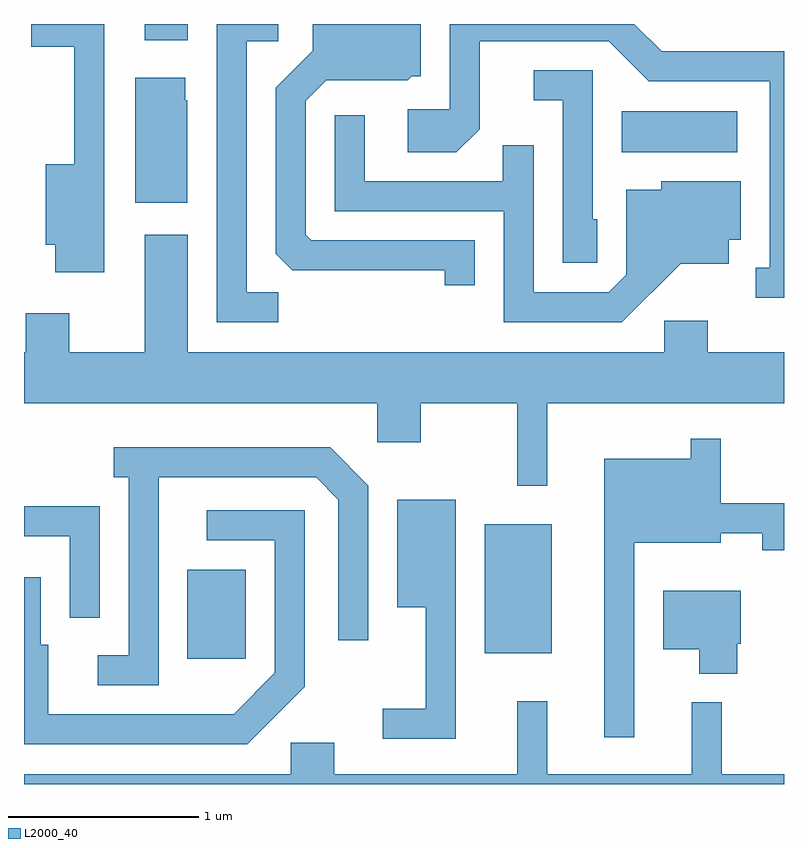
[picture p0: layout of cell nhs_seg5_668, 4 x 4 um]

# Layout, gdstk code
import gdstk
lib = gdstk.Library(unit=1e-6, precision=1e-09)
def R(c, l, rs):  # rectangles x0, y0, x1, y1
    for r in rs: c.add(gdstk.rectangle(r[:2], r[2:], *l))
def P(c, l, *ps):  # polygons
    for p in ps: c.add(gdstk.Polygon(p, *l))
L2000_40 = (2000, 40)

nhs_seg5_668 = lib.new_cell('nhs_seg5_668')
R(nhs_seg5_668, L2000_40, [(204.471,1508.731,204.779,1509.199), (206.036,1508.761,206.389,1509.439), (206.756,1511.396,207.364,1511.614), (204.246,1511.986,204.474,1512.072)])
P(nhs_seg5_668, L2000_40, [(204.034,1512.072),(203.648,1512.072),(203.648,1511.951),(203.876,1511.951),(203.876,1511.334),(203.726,1511.334),(203.726,1510.911),(203.776,1510.911),(203.776,1510.766),(204.034,1510.766)],
  [(207.611,1511.929),(206.967,1511.929),(206.824,1512.072),(205.851,1512.072),(205.851,1511.624),(205.631,1511.624),(205.631,1511.396),(205.887,1511.396),(206.009,1511.519),(206.009,1511.981),(206.689,1511.981),(206.899,1511.771),(207.536,1511.771),(207.536,1510.789),(207.463,1510.789),(207.463,1510.631),(207.611,1510.631)],
  [(204.948,1510.659),(204.784,1510.659),(204.784,1511.981),(204.948,1511.981),(204.948,1512.072),(204.626,1512.072),(204.626,1510.501),(204.948,1510.501)],
  [(205.984,1510.934),(205.122,1510.934),(205.094,1510.962),(205.094,1511.669),(205.202,1511.776),(205.632,1511.776),(205.652,1511.796),(205.699,1511.796),(205.699,1512.072),(205.131,1512.072),(205.131,1511.932),(204.936,1511.737),(204.936,1510.862),(205.022,1510.776),(205.826,1510.776),(205.826,1510.698),(205.984,1510.698)],
  [(206.629,1511.044),(206.604,1511.044),(206.604,1511.829),(206.293,1511.829),(206.293,1511.671),(206.446,1511.671),(206.446,1510.816),(206.629,1510.816)],
  [(204.469,1511.67),(204.459,1511.67),(204.459,1511.789),(204.196,1511.789),(204.196,1511.131),(204.469,1511.131)],
  [(207.067,1510.811),(207.319,1510.811),(207.319,1510.936),(207.384,1510.936),(207.384,1511.244),(206.966,1511.244),(206.966,1511.199),(206.781,1511.199),(206.781,1510.752),(206.689,1510.659),(206.294,1510.659),(206.294,1511.433),(206.131,1511.433),(206.131,1511.244),(205.404,1511.244),(205.404,1511.593),(205.246,1511.593),(205.246,1511.086),(206.136,1511.086),(206.136,1510.501),(206.757,1510.501)],
  [(206.364,1510.076),(207.611,1510.076),(207.611,1510.344),(207.209,1510.344),(207.209,1510.509),(206.981,1510.509),(206.981,1510.344),(204.474,1510.344),(204.474,1510.964),(204.246,1510.964),(204.246,1510.344),(203.849,1510.344),(203.849,1510.549),(203.621,1510.549),(203.621,1510.344),(203.611,1510.344),(203.611,1510.076),(205.471,1510.076),(205.471,1509.871),(205.699,1509.871),(205.699,1510.076),(206.206,1510.076),(206.206,1509.643),(206.364,1509.643)],
  [(206.824,1509.341),(207.279,1509.341),(207.279,1509.391),(207.496,1509.391),(207.496,1509.301),(207.611,1509.301),(207.611,1509.549),(207.279,1509.549),(207.279,1509.888),(207.121,1509.888),(207.121,1509.784),(206.666,1509.784),(206.666,1508.318),(206.824,1508.318)],
  [(204.319,1509.686),(205.149,1509.686),(205.266,1509.569),(205.266,1508.828),(205.424,1508.828),(205.424,1509.642),(205.222,1509.844),(204.083,1509.844),(204.083,1509.686),(204.161,1509.686),(204.161,1508.749),(203.998,1508.749),(203.998,1508.591),(204.319,1508.591)],
  [(205.884,1509.569),(205.576,1509.569),(205.576,1509.001),(205.726,1509.001),(205.726,1508.469),(205.498,1508.469),(205.498,1508.311),(205.884,1508.311)],
  [(204.009,1509.534),(203.611,1509.534),(203.611,1509.376),(203.851,1509.376),(203.851,1508.948),(204.009,1508.948)],
  [(205.089,1508.584),(205.089,1509.514),(204.573,1509.514),(204.573,1509.356),(204.931,1509.356),(204.931,1508.657),(204.714,1508.439),(203.739,1508.439),(203.739,1508.804),(203.699,1508.804),(203.699,1509.159),(203.611,1509.159),(203.611,1508.281),(204.787,1508.281)],
  [(207.364,1508.811),(207.384,1508.811),(207.384,1509.089),(206.976,1509.089),(206.976,1508.781),(207.166,1508.781),(207.166,1508.651),(207.364,1508.651)],
  [(207.611,1508.124),(207.284,1508.124),(207.284,1508.503),(207.126,1508.503),(207.126,1508.124),(206.364,1508.124),(206.364,1508.508),(206.206,1508.508),(206.206,1508.124),(205.244,1508.124),(205.244,1508.289),(205.016,1508.289),(205.016,1508.124),(203.611,1508.124),(203.611,1508.072),(207.611,1508.072)])

lib.write_gds('nhs_seg5_668.gds')
